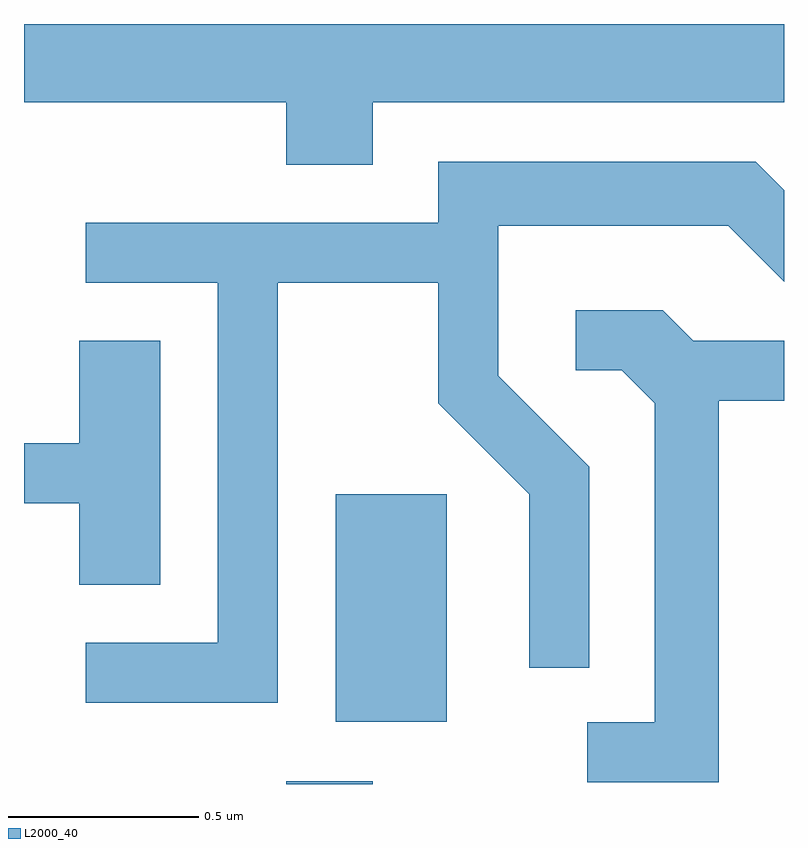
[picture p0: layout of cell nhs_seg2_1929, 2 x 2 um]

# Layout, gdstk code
import gdstk
lib = gdstk.Library(unit=1e-6, precision=1e-09)
def R(c, l, rs):  # rectangles x0, y0, x1, y1
    for r in rs: c.add(gdstk.rectangle(r[:2], r[2:], *l))
def P(c, l, *ps):  # polygons
    for p in ps: c.add(gdstk.Polygon(p, *l))
L2000_40 = (2000, 40)

nhs_seg2_1929 = lib.new_cell('nhs_seg2_1929')
R(nhs_seg2_1929, L2000_40, [(200.301,988.802,200.529,988.809), (200.431,988.966,200.724,989.564)])
P(nhs_seg2_1929, L2000_40, [(200.529,990.596),(201.611,990.596),(201.611,990.802),(199.611,990.802),(199.611,990.596),(200.301,990.596),(200.301,990.431),(200.529,990.431)],
  [(200.279,990.121),(200.701,990.121),(200.701,989.804),(200.941,989.564),(200.941,989.108),(201.099,989.108),(201.099,989.637),(200.859,989.877),(200.859,990.271),(201.464,990.271),(201.611,990.124),(201.611,990.365),(201.537,990.439),(200.701,990.439),(200.701,990.279),(199.773,990.279),(199.773,990.121),(200.121,990.121),(200.121,989.174),(199.773,989.174),(199.773,989.016),(200.279,989.016)],
  [(201.439,989.811),(201.611,989.811),(201.611,989.969),(201.372,989.969),(201.292,990.049),(201.063,990.049),(201.063,989.891),(201.184,989.891),(201.271,989.804),(201.271,988.964),(201.093,988.964),(201.093,988.806),(201.439,988.806)],
  [(199.969,989.969),(199.756,989.969),(199.756,989.699),(199.611,989.699),(199.611,989.541),(199.756,989.541),(199.756,989.326),(199.969,989.326)])

lib.write_gds('nhs_seg2_1929.gds')
